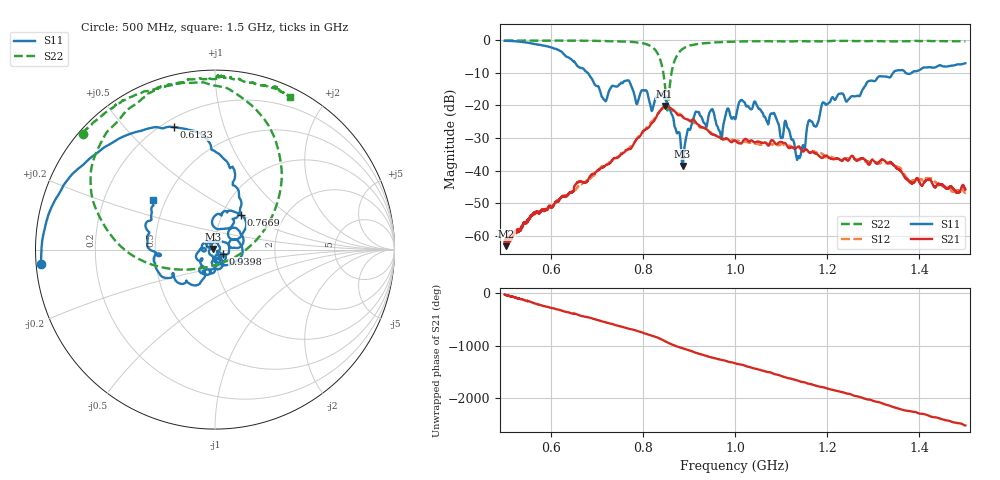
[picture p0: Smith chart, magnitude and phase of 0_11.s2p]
!Agilent Technologies,E8364B,US42250235,A.06.04.32
!Agilent E8364B: A.06.04.32
!Date: Thursday, October 01, 2020 14:20:05
!Correction: S11(Full 2 Port(1,2)) S21(Full 2 Port(1,2)) S12(Full 2 Port(1,2)) S22(Full 2 Port(1,2))
!S2P File: Measurements: S11, S21, S12, S22:
# Hz S  dB  R 50
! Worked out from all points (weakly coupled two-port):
!   2650 points, 500 MHz to 1.5 GHz, reference 50 ohm
!   highest |S21| = -20.23 dB at 847.3 MHz (marker M1); lowest = -63.1 dB at 503.4 MHz (marker M2)
!   lowest |S11| = -38.6 dB at 886.2 MHz (marker M3), VSWR 1.02, Z = 48.9 + j0.292 ohm
!   |S11| at or under -10 dB: 679.7 MHz to 1.344 GHz (663.9 MHz wide, 65.6 % of centre); 1.37 GHz to 1.384 GHz (14.18 MHz wide, 1.03 % of centre)
!   |S22| runs from -21.6 to -0.2 dB; largest |S21 - S12| = 0.016
!   S11 on the Smith chart (normalised r, x): 500 MHz: 0.01, -0.04; 613.3 MHz: 0.24, +0.69; 766.9 MHz: 1.22, +0.50; 939.8 MHz: 1.10, -0.05; 1.5 GHz: 0.43, +0.29
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5e8  -0.24 -175.3  -61.90 -21.2  -62.21 -20.1  -0.17 138.7
5.033975e8  -0.27 -177.0  -63.14 -33.3  -61.27 -26.2  -0.17 138.3
6.132503e8  -2.85 108.7  -49.65 57.2  -49.31 58.8  -0.19 124.5
6.668554e8  -8.58 74.0  -43.37 -70.8  -44.13 -67.1  -0.23 121.3
7.17063e8  -18.44 74.0  -38.64 173.8  -38.44 169.8  -0.32 113.7
7.668932e8  -12.37 53.5  -33.52 51.6  -33.55 48.7  -0.55 98.3
7.869007e8  -19.67 40.3  -30.31 6.3  -30.20 1.5  -0.77 90.5
8.337108e8  -16.71 11.0  -22.32 -131.4  -22.49 -140.3  -4.55 51.4
8.473009e8  -17.92 -34.4  -20.23 170.2  -20.48 161.6  -13.02 10.8
8.544734e8  -19.63 -56.7  -20.62 139.4  -20.74 131.4  -20.60 -100.4
8.673084e8  -24.99 -98.4  -21.58 89.2  -21.90 82.2  -7.00 -174.6
8.861835e8  -38.60 165.3  -23.53 30.3  -23.38 20.3  -2.76 158.7
9.148735e8  -21.97 19.0  -25.26 -54.5  -25.80 -61.0  -1.33 139.9
9.397886e8  -25.69 -27.6  -27.50 -119.9  -27.63 -127.1  -0.97 128.5
9.684787e8  -28.82 -86.8  -30.05 173.8  -29.91 164.3  -0.69 118.5
1.000189e9  -24.27 -93.9  -30.80 105.1  -30.73 92.5  -0.48 112.7
1.014156e9  -18.35 -118.8  -31.67 79.0  -31.25 59.9  -0.45 111.0
1.082861e9  -22.45 165.6  -30.85 -93.2  -31.93 -100.7  -0.44 107.4
1.137222e9  -35.59 -33.6  -32.62 132.4  -32.91 123.5  -0.37 98.4
1.166667e9  -25.03 -75.0  -34.29 61.7  -34.30 54.4  -0.41 92.2
1.333522e9  -11.43 -150.8  -37.63 21.3  -37.83 19.1  -0.43 77.8
1.5e9  -7.12 141.2  -45.79 -2.7  -46.75 -6.9  -0.46 64.0
